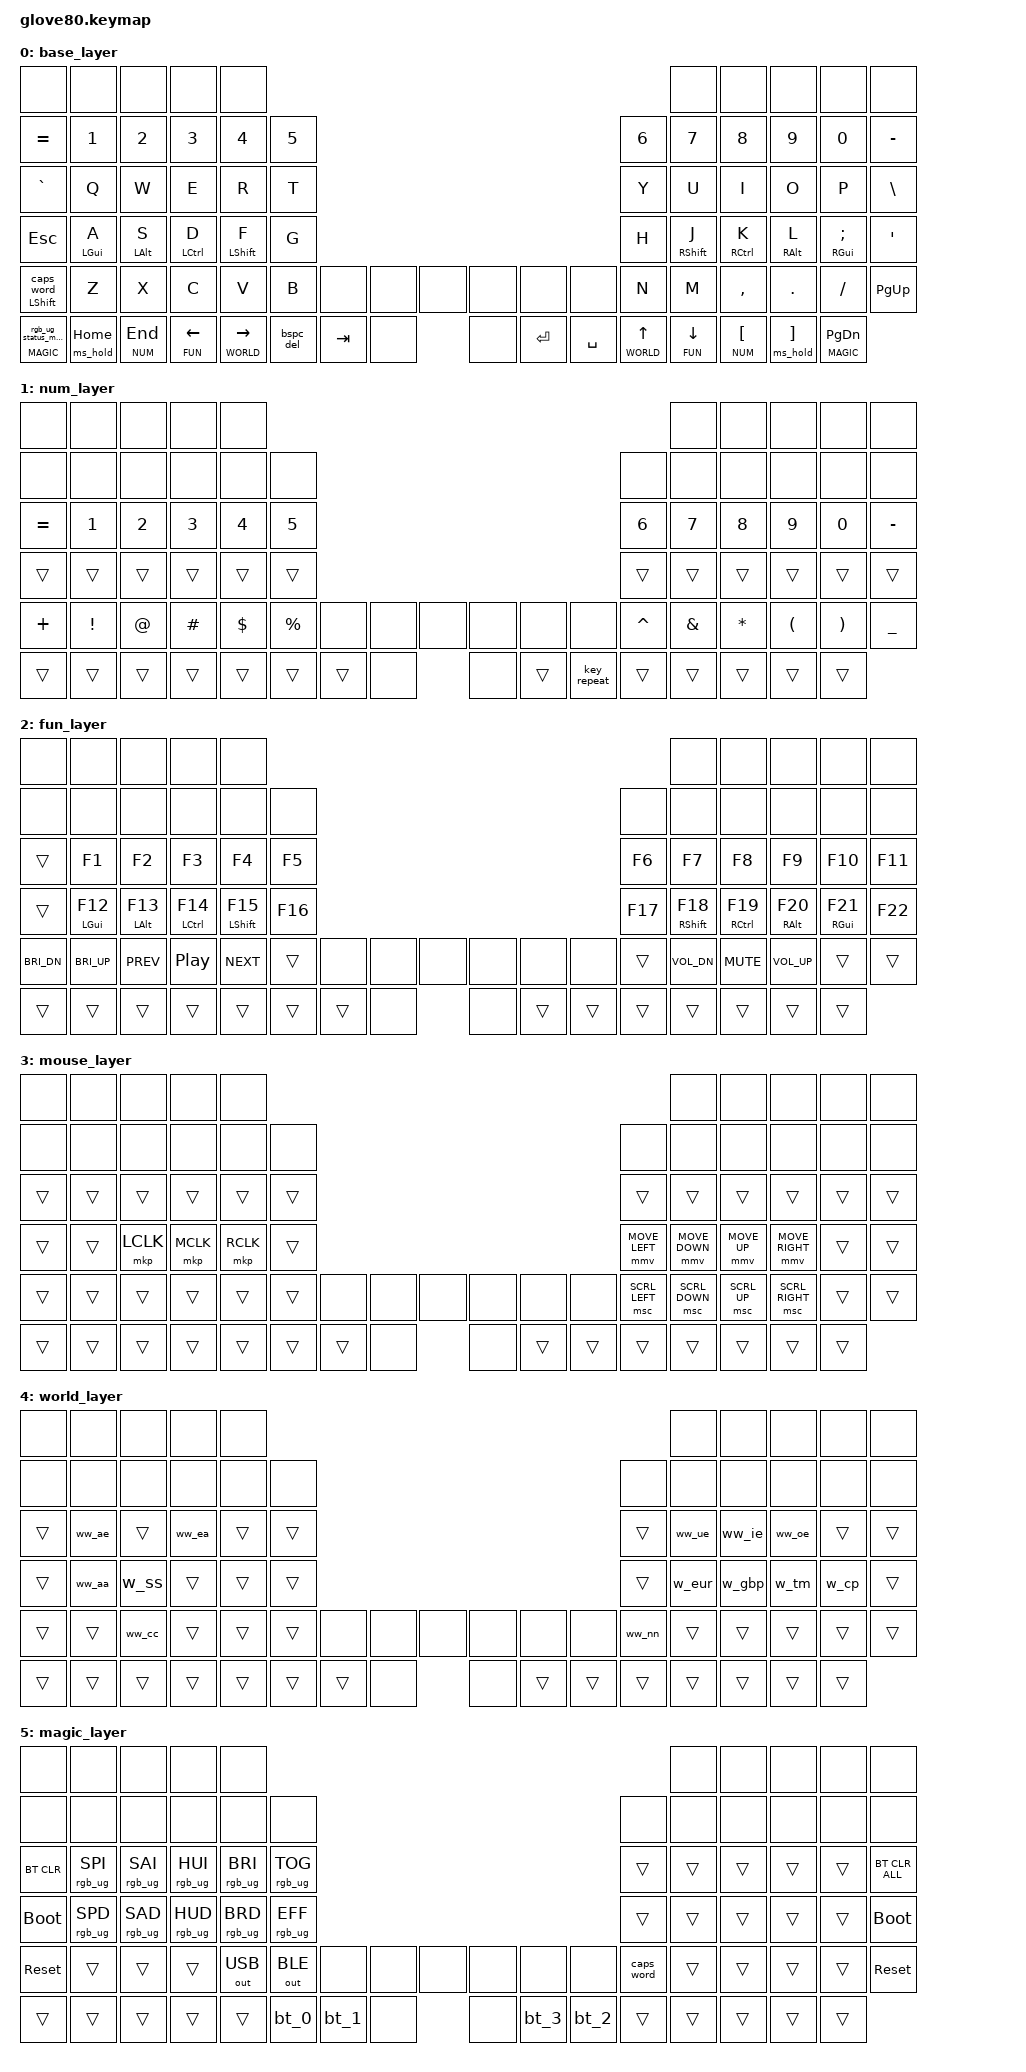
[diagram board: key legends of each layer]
/*
 * Peter's Glove80 — custom QWERTY keymap
 * Built locally via moergo-sc/glove80-zmk-config (Nix). See plan for rationale.
 *
 * Physical subset used: rows R3-R6, thumbs T4/T5 only. R1 (F-row) and R2
 * (number row) are &none; numbers live on the NUM layer.
 *
 * Layers: 0 BASE  1 NUM  2 FUN  3 MOUSE  4 WORLD  5 MAGIC
 */

#include <behaviors.dtsi>
#include <dt-bindings/zmk/keys.h>
#include <dt-bindings/zmk/bt.h>
#include <dt-bindings/zmk/outputs.h>
#include <dt-bindings/zmk/rgb.h>
#include <dt-bindings/zmk/pointing.h>

// layers
#define BASE  0
#define NUM   1
#define FUN   2
#define MOUSE 3
#define WORLD 4
#define MAGIC 5

// SBALL: a plain, app-inert key (Pause) that Sway binds (press/release) to signal
// the trackball-scroll daemon. It must NOT be a modifier or a chord — any held
// Ctrl/Shift/Alt would corrupt scrolling (Ctrl=zoom, Shift=horizontal). Sway
// consumes Pause so no app ever sees it.
#define SBALL PAUSE_BREAK

// Bilateral home-row-mod trigger sets: a left mod only engages when an
// opposite-(right)-hand key follows, and vice-versa.
#define KEYS_L 0 1 2 3 4 10 11 12 13 14 15 22 23 24 25 26 27 34 35 36 37 38 39 46 47 48 49 50 51 52 53 54 64 65 66 67 68 69 70 71
#define KEYS_R 5 6 7 8 9 16 17 18 19 20 21 28 29 30 31 32 33 40 41 42 43 44 45 55 56 57 58 59 60 61 62 63 72 73 74 75 76 77 78 79
#define KEYS_ALL KEYS_L KEYS_R

/ {
    behaviors {
        // Timerless (urob-style) home-row mods.
        hml: home_row_mod_left {
            compatible = "zmk,behavior-hold-tap";
            #binding-cells = <2>;
            flavor = "balanced";
            tapping-term-ms = <280>;
            quick-tap-ms = <175>;
            require-prior-idle-ms = <150>;
            hold-trigger-on-release;
            hold-trigger-key-positions = <KEYS_R>;
            bindings = <&kp>, <&kp>;
        };
        hmr: home_row_mod_right {
            compatible = "zmk,behavior-hold-tap";
            #binding-cells = <2>;
            flavor = "balanced";
            tapping-term-ms = <280>;
            quick-tap-ms = <175>;
            require-prior-idle-ms = <150>;
            hold-trigger-on-release;
            hold-trigger-key-positions = <KEYS_L>;
            bindings = <&kp>, <&kp>;
        };

        // Timerless layer-tap for the R6 nav/bracket keys (same recipe as the
        // HRMs): the layer engages the instant another key is pressed
        // (positional, via hold-trigger-key-positions + hold-trigger-on-release),
        // a lone press/release is a tap, and tap-then-hold repeats the nav key.
        // require-prior-idle keeps fast bracket rolls ([]/{}) resolving to taps.
        ltn: layer_tap {
            compatible = "zmk,behavior-hold-tap";
            #binding-cells = <2>;
            flavor = "balanced";
            tapping-term-ms = <280>;
            quick-tap-ms = <200>;
            require-prior-idle-ms = <150>;
            hold-trigger-key-positions = <KEYS_ALL>;
            hold-trigger-on-release;
            bindings = <&mo>, <&kp>;
        };

        // MOUSE-layer key: tap = nav key, hold = enter MOUSE *and* hold Pause (so the
        // trackball daemon flips to scroll mode for as long as you're on the layer).
        // Time-based (tap-preferred) so it engages even when you only touch the
        // trackball (no keyboard key to trigger a timerless hold).
        mslt: mouse_scroll_layer_tap {
            compatible = "zmk,behavior-hold-tap";
            #binding-cells = <2>;
            flavor = "tap-preferred";
            tapping-term-ms = <175>;
            quick-tap-ms = <200>;
            bindings = <&ms_hold>, <&kp>;
        };

        // Backspace, Shift -> Delete.
        bspc_del: backspace_delete {
            compatible = "zmk,behavior-mod-morph";
            #binding-cells = <0>;
            bindings = <&kp BSPC>, <&kp DEL>;
            mods = <(MOD_LSFT|MOD_RSFT)>;
        };

        // Pinky Shift/Caps Word: hold = Shift (a dedicated, NON-home-row Shift that
        // isn't gated by require-prior-idle, so it works right after fast typing —
        // e.g. ? = hold-pinky + /), tap = Caps Word. Invoke as `&shcw LSHFT 0`.
        shcw: shift_capsword {
            compatible = "zmk,behavior-hold-tap";
            #binding-cells = <2>;
            flavor = "balanced";
            tapping-term-ms = <200>;
            bindings = <&kp>, <&caps_word>;
        };

        // WORLD case morphs: tap = lowercase accent, Shift = uppercase accent.
        ww_ae: ww_ae { compatible = "zmk,behavior-mod-morph"; #binding-cells = <0>; bindings = <&w_ae>, <&wu_ae>; mods = <(MOD_LSFT|MOD_RSFT)>; };
        ww_oe: ww_oe { compatible = "zmk,behavior-mod-morph"; #binding-cells = <0>; bindings = <&w_oe>, <&wu_oe>; mods = <(MOD_LSFT|MOD_RSFT)>; };
        ww_ue: ww_ue { compatible = "zmk,behavior-mod-morph"; #binding-cells = <0>; bindings = <&w_ue>, <&wu_ue>; mods = <(MOD_LSFT|MOD_RSFT)>; };
        ww_ie: ww_ie { compatible = "zmk,behavior-mod-morph"; #binding-cells = <0>; bindings = <&w_ie>, <&wu_ie>; mods = <(MOD_LSFT|MOD_RSFT)>; };
        ww_ea: ww_ea { compatible = "zmk,behavior-mod-morph"; #binding-cells = <0>; bindings = <&w_ea>, <&wu_ea>; mods = <(MOD_LSFT|MOD_RSFT)>; };
        ww_aa: ww_aa { compatible = "zmk,behavior-mod-morph"; #binding-cells = <0>; bindings = <&w_aa>, <&wu_aa>; mods = <(MOD_LSFT|MOD_RSFT)>; };
        ww_nn: ww_nn { compatible = "zmk,behavior-mod-morph"; #binding-cells = <0>; bindings = <&w_nn>, <&wu_nn>; mods = <(MOD_LSFT|MOD_RSFT)>; };
        ww_cc: ww_cc { compatible = "zmk,behavior-mod-morph"; #binding-cells = <0>; bindings = <&w_cc>, <&wu_cc>; mods = <(MOD_LSFT|MOD_RSFT)>; };

        // Magic key: hold = MAGIC layer, tap = show battery/RGB status (stock).
        magic: magic_hold_tap {
            compatible = "zmk,behavior-hold-tap";
            #binding-cells = <2>;
            flavor = "tap-preferred";
            tapping-term-ms = <200>;
            bindings = <&mo>, <&rgb_ug_status_macro>;
        };
    };

    macros {
        rgb_ug_status_macro: rgb_ug_status_macro {
            label = "RGB_UG_STATUS";
            compatible = "zmk,behavior-macro";
            #binding-cells = <0>;
            bindings = <&rgb_ug RGB_STATUS>;
        };

        // Hold MOUSE layer + Pause together (Pause -> Sway -> daemon scroll mode),
        // both released when the triggering key is released. Used by &mslt.
        ms_hold: ms_hold {
            label = "MS_HOLD";
            compatible = "zmk,behavior-macro";
            #binding-cells = <0>;
            bindings
                = <&macro_press &mo MOUSE &kp PAUSE_BREAK>
                , <&macro_pause_for_release>
                , <&macro_release &kp PAUSE_BREAK &mo MOUSE>;
        };

        // Bluetooth profile selectors (stock MoErgo): switch to BLE + profile N.
        bt_0: bt_profile_0 { label = "BT_0"; compatible = "zmk,behavior-macro"; #binding-cells = <0>; bindings = <&out OUT_BLE>, <&bt BT_SEL 0>; };
        bt_1: bt_profile_1 { label = "BT_1"; compatible = "zmk,behavior-macro"; #binding-cells = <0>; bindings = <&out OUT_BLE>, <&bt BT_SEL 1>; };
        bt_2: bt_profile_2 { label = "BT_2"; compatible = "zmk,behavior-macro"; #binding-cells = <0>; bindings = <&out OUT_BLE>, <&bt BT_SEL 2>; };
        bt_3: bt_profile_3 { label = "BT_3"; compatible = "zmk,behavior-macro"; #binding-cells = <0>; bindings = <&out OUT_BLE>, <&bt BT_SEL 3>; };

        // WORLD layer: Compose-key sequences. Compose = K_APP (Menu); Sway maps
        // it via xkb_options "...,compose:menu". Each macro: Compose then chars.
        // Lowercase (fired unshifted via the mod-morphs below):
        w_ae:  w_ae  { label = "W_AE";  compatible = "zmk,behavior-macro"; #binding-cells = <0>; bindings = <&kp K_APP &kp DQT &kp A>; };
        w_oe:  w_oe  { label = "W_OE";  compatible = "zmk,behavior-macro"; #binding-cells = <0>; bindings = <&kp K_APP &kp DQT &kp O>; };
        w_ue:  w_ue  { label = "W_UE";  compatible = "zmk,behavior-macro"; #binding-cells = <0>; bindings = <&kp K_APP &kp DQT &kp U>; };
        w_ie:  w_ie  { label = "W_IE";  compatible = "zmk,behavior-macro"; #binding-cells = <0>; bindings = <&kp K_APP &kp DQT &kp I>; };
        w_ea:  w_ea  { label = "W_EA";  compatible = "zmk,behavior-macro"; #binding-cells = <0>; bindings = <&kp K_APP &kp SQT &kp E>; };
        w_aa:  w_aa  { label = "W_AA";  compatible = "zmk,behavior-macro"; #binding-cells = <0>; bindings = <&kp K_APP &kp SQT &kp A>; };
        w_nn:  w_nn  { label = "W_NN";  compatible = "zmk,behavior-macro"; #binding-cells = <0>; bindings = <&kp K_APP &kp TILDE &kp N>; };
        w_cc:  w_cc  { label = "W_CC";  compatible = "zmk,behavior-macro"; #binding-cells = <0>; bindings = <&kp K_APP &kp COMMA &kp C>; };
        // Uppercase: release the held Shift first so it can't corrupt the Compose
        // dead-key chars, then type the capital via LS(letter).
        wu_ae: wu_ae { label = "WU_AE"; compatible = "zmk,behavior-macro"; #binding-cells = <0>; bindings = <&macro_release &kp LSHFT &kp RSHFT &macro_tap &kp K_APP &kp DQT &kp LS(A)>; };
        wu_oe: wu_oe { label = "WU_OE"; compatible = "zmk,behavior-macro"; #binding-cells = <0>; bindings = <&macro_release &kp LSHFT &kp RSHFT &macro_tap &kp K_APP &kp DQT &kp LS(O)>; };
        wu_ue: wu_ue { label = "WU_UE"; compatible = "zmk,behavior-macro"; #binding-cells = <0>; bindings = <&macro_release &kp LSHFT &kp RSHFT &macro_tap &kp K_APP &kp DQT &kp LS(U)>; };
        wu_ie: wu_ie { label = "WU_IE"; compatible = "zmk,behavior-macro"; #binding-cells = <0>; bindings = <&macro_release &kp LSHFT &kp RSHFT &macro_tap &kp K_APP &kp DQT &kp LS(I)>; };
        wu_ea: wu_ea { label = "WU_EA"; compatible = "zmk,behavior-macro"; #binding-cells = <0>; bindings = <&macro_release &kp LSHFT &kp RSHFT &macro_tap &kp K_APP &kp SQT &kp LS(E)>; };
        wu_aa: wu_aa { label = "WU_AA"; compatible = "zmk,behavior-macro"; #binding-cells = <0>; bindings = <&macro_release &kp LSHFT &kp RSHFT &macro_tap &kp K_APP &kp SQT &kp LS(A)>; };
        wu_nn: wu_nn { label = "WU_NN"; compatible = "zmk,behavior-macro"; #binding-cells = <0>; bindings = <&macro_release &kp LSHFT &kp RSHFT &macro_tap &kp K_APP &kp TILDE &kp LS(N)>; };
        wu_cc: wu_cc { label = "WU_CC"; compatible = "zmk,behavior-macro"; #binding-cells = <0>; bindings = <&macro_release &kp LSHFT &kp RSHFT &macro_tap &kp K_APP &kp COMMA &kp LS(C)>; };
        // Symbols / ß: release Shift first too, so a stray Shift can't break them.
        w_ss:  w_ss  { label = "W_SS";  compatible = "zmk,behavior-macro"; #binding-cells = <0>; bindings = <&macro_release &kp LSHFT &kp RSHFT &macro_tap &kp K_APP &kp S &kp S>; };
        w_eur: w_eur { label = "W_EUR"; compatible = "zmk,behavior-macro"; #binding-cells = <0>; bindings = <&macro_release &kp LSHFT &kp RSHFT &macro_tap &kp K_APP &kp EQUAL &kp E>; };
        w_gbp: w_gbp { label = "W_GBP"; compatible = "zmk,behavior-macro"; #binding-cells = <0>; bindings = <&macro_release &kp LSHFT &kp RSHFT &macro_tap &kp K_APP &kp LS(L) &kp MINUS>; };
        w_tm:  w_tm  { label = "W_TM";  compatible = "zmk,behavior-macro"; #binding-cells = <0>; bindings = <&macro_release &kp LSHFT &kp RSHFT &macro_tap &kp K_APP &kp T &kp M>; };
        w_cp:  w_cp  { label = "W_CP";  compatible = "zmk,behavior-macro"; #binding-cells = <0>; bindings = <&macro_release &kp LSHFT &kp RSHFT &macro_tap &kp K_APP &kp O &kp C>; };
    };

    // Layer LOCK: press both halves' keys for a layer (from base) to switch to it
    // and stay (&to). Press both Magic keys (any layer) to unlock back to base.
    // Positions: magic 64/79, mouse 65/78, num 66/77, fun 67/76, world 68/75.
    combos {
        compatible = "zmk,combos";
        combo_lock_num   { timeout-ms = <75>; key-positions = <66 77>; bindings = <&to NUM>;   layers = <BASE>; };
        combo_lock_fun   { timeout-ms = <75>; key-positions = <67 76>; bindings = <&to FUN>;   layers = <BASE>; };
        combo_lock_mouse { timeout-ms = <75>; key-positions = <65 78>; bindings = <&to MOUSE>; layers = <BASE>; };
        combo_lock_world { timeout-ms = <75>; key-positions = <68 75>; bindings = <&to WORLD>; layers = <BASE>; };
        combo_unlock     { timeout-ms = <75>; key-positions = <64 79>; bindings = <&to BASE>; };

        // Chord-Shift: hold C+V (left) or M+, (right) = Shift, held while the chord
        // is held. Not an HRM, so it's not gated by require-prior-idle — works right
        // after fast typing (e.g. ? = hold C+V, tap /). slow-release keeps Shift held
        // until you let go of both chord keys.
        combo_lshift { timeout-ms = <50>; key-positions = <49 50>; bindings = <&kp LSHFT>; layers = <BASE>; slow-release; };
        combo_rshift { timeout-ms = <50>; key-positions = <59 60>; bindings = <&kp RSHFT>; layers = <BASE>; slow-release; };
    };

    keymap {
        compatible = "zmk,keymap";

        base_layer {
            // R1 (F-row) unused; R2 = number row; R3-R6 = QWERTY + HRMs + nav/bracket.
            bindings = <
            &none           &none      &none      &none      &none                                                                                          &none      &none      &none      &none      &none
            &kp EQUAL       &kp N1     &kp N2     &kp N3     &kp N4     &kp N5                                                                     &kp N6     &kp N7     &kp N8     &kp N9     &kp N0     &kp MINUS
            &kp GRAVE       &kp Q      &kp W      &kp E      &kp R      &kp T                                                                     &kp Y      &kp U      &kp I      &kp O      &kp P      &kp BSLH
            &kp ESC         &hml LGUI A &hml LALT S &hml LCTRL D &hml LSHFT F &kp G                                                                &kp H      &hmr RSHFT J &hmr RCTRL K &hmr RALT L &hmr RGUI SEMI &kp SQT
            &shcw LSHFT 0   &kp Z      &kp X      &kp C      &kp V      &kp B   &none     &none     &none         &none   &none   &none             &kp N      &kp M      &kp COMMA  &kp DOT    &kp FSLH   &kp PG_UP
            &magic MAGIC 0  &mslt 0 HOME &ltn NUM END &ltn FUN LEFT &ltn WORLD RIGHT   &bspc_del &kp TAB  &none         &none   &kp RET &kp SPACE          &ltn WORLD UP &ltn FUN DOWN &ltn NUM LBKT &mslt 0 RBKT &ltn MAGIC PG_DN
            >;
        };

        num_layer {
            bindings = <
            &none      &none      &none      &none      &none                                                                                          &none      &none      &none      &none      &none
            &none      &none      &none      &none      &none      &none                                                                      &none      &none      &none      &none      &none      &none
            &kp EQUAL  &kp N1     &kp N2     &kp N3     &kp N4     &kp N5                                                                    &kp N6     &kp N7     &kp N8     &kp N9     &kp N0     &kp MINUS
            &trans     &trans     &trans     &trans     &trans     &trans                                                                     &trans     &trans     &trans     &trans     &trans     &trans
            &kp PLUS    &kp EXCL   &kp AT     &kp HASH   &kp DLLR   &kp PRCNT  &none     &none     &none          &none   &none   &none         &kp CARET  &kp AMPS   &kp ASTRK  &kp LPAR   &kp RPAR   &kp UNDER
            &trans     &trans     &trans     &trans     &trans                &trans    &trans    &none          &none   &trans  &key_repeat   &trans     &trans     &trans     &trans     &trans
            >;
        };

        fun_layer {
            bindings = <
            &none      &none      &none      &none      &none                                                                                          &none      &none      &none      &none      &none
            &none      &none      &none      &none      &none      &none                                                                      &none      &none      &none      &none      &none      &none
            &trans     &kp F1     &kp F2     &kp F3     &kp F4     &kp F5                                                                      &kp F6     &kp F7     &kp F8     &kp F9     &kp F10    &kp F11
            &trans     &hml LGUI F12 &hml LALT F13 &hml LCTRL F14 &hml LSHFT F15 &kp F16                                                        &kp F17    &hmr RSHFT F18 &hmr RCTRL F19 &hmr RALT F20 &hmr RGUI F21 &kp F22
            &kp C_BRI_DN &kp C_BRI_UP &kp C_PREV &kp C_PP &kp C_NEXT &trans   &none     &none     &none          &none   &none   &none         &trans     &kp C_VOL_DN &kp C_MUTE &kp C_VOL_UP &trans     &trans
            &trans     &trans     &trans     &trans     &trans               &trans    &trans    &none          &none   &trans  &trans        &trans     &trans     &trans     &trans     &trans
            >;
        };

        mouse_layer {
            // Left hand: clicks (home row L-M-R). Right hand: pointer move (hjkl) on the
            // home row, scroll (h/j/k/l-style) on the row directly below it. Trackball
            // also scrolls automatically while this layer is held (see &mslt).
            bindings = <
            &none      &none      &none      &none      &none                                                                                          &none      &none      &none      &none      &none
            &none      &none      &none      &none      &none      &none                                                                      &none      &none      &none      &none      &none      &none
            &trans     &trans     &trans     &trans     &trans     &trans                                                                      &trans     &trans     &trans     &trans     &trans     &trans
            &trans     &trans     &mkp LCLK  &mkp MCLK  &mkp RCLK  &trans                                                                     &mmv MOVE_LEFT &mmv MOVE_DOWN &mmv MOVE_UP &mmv MOVE_RIGHT &trans &trans
            &trans     &trans     &trans     &trans     &trans     &trans   &none   &none     &none          &none   &none   &none         &msc SCRL_LEFT &msc SCRL_DOWN &msc SCRL_UP &msc SCRL_RIGHT &trans &trans
            &trans     &trans     &trans     &trans     &trans               &trans    &trans    &none          &none   &trans  &trans        &trans     &trans     &trans     &trans     &trans
            >;
        };

        world_layer {
            // Compose accents/symbols (Linux/Sway). Lowercase set; extend as needed.
            bindings = <
            &none      &none      &none      &none      &none                                                                                          &none      &none      &none      &none      &none
            &none      &none      &none      &none      &none      &none                                                                      &none      &none      &none      &none      &none      &none
            &trans     &ww_ae     &trans     &ww_ea     &trans     &trans                                                                      &trans     &ww_ue     &ww_ie     &ww_oe     &trans     &trans
            &trans     &ww_aa     &w_ss      &trans     &trans     &trans                                                                      &trans     &w_eur     &w_gbp     &w_tm      &w_cp      &trans
            &trans     &trans     &ww_cc     &trans     &trans     &trans   &none     &none     &none          &none   &none   &none           &ww_nn     &trans     &trans     &trans     &trans     &trans
            &trans     &trans     &trans     &trans     &trans               &trans    &trans    &none          &none   &trans  &trans        &trans     &trans     &trans     &trans     &trans
            >;
        };

        magic_layer {
            // Stock sunaku-style Magic layer adapted to our keyset.
            bindings = <
            &none      &none      &none      &none      &none                                                                                          &none      &none      &none      &none      &none
            &none      &none      &none      &none      &none      &none                                                                      &none      &none      &none      &none      &none      &none
            &bt BT_CLR &rgb_ug RGB_SPI &rgb_ug RGB_SAI &rgb_ug RGB_HUI &rgb_ug RGB_BRI &rgb_ug RGB_TOG                                          &trans     &trans     &trans     &trans     &trans     &bt BT_CLR_ALL
            &bootloader &rgb_ug RGB_SPD &rgb_ug RGB_SAD &rgb_ug RGB_HUD &rgb_ug RGB_BRD &rgb_ug RGB_EFF                                         &trans     &trans     &trans     &trans     &trans     &bootloader
            &sys_reset &trans     &trans     &trans     &out OUT_USB &out OUT_BLE &none  &none     &none          &none   &none   &none         &caps_word &trans     &trans     &trans     &trans     &sys_reset
            &trans     &trans     &trans     &trans     &trans               &bt_0     &bt_1     &none          &none   &bt_3   &bt_2         &trans     &trans     &trans     &trans     &trans
            >;
        };
    };
};
